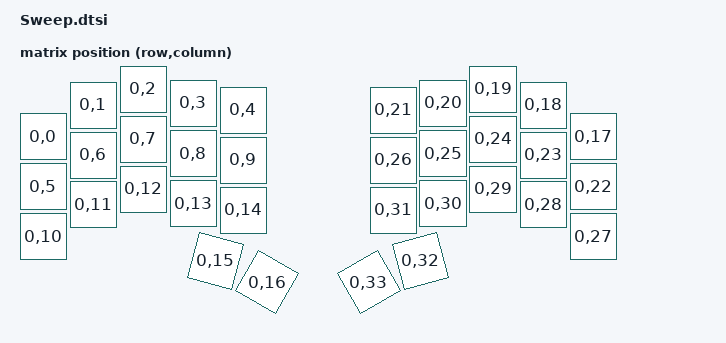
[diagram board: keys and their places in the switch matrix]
/*
 * Copyright (c) 2021 The ZMK Contributors
 *
 * SPDX-License-Identifier: MIT
 */

#include <dt-bindings/zmk/matrix_transform.h>
#include <physical_layouts.dtsi>


/ {

    chosen {
        zmk,physical-layout = &default_layout;
    };

    default_transform: keymap_transform_0 {
        compatible = "zmk,matrix-transform";
        columns = <34>;
        rows = <1>;
        map = <
        //     0        1        2        3        4          5        6        7        8        9
            RC(0,0)  RC(0,1)  RC(0,2)  RC(0,3)  RC(0,4)    RC(0,21) RC(0,20) RC(0,19) RC(0,18) RC(0,17)
        //     10       11       12       13       14         15       16       17       18       19     
            RC(0,5)  RC(0,6)  RC(0,7)  RC(0,8)  RC(0,9)    RC(0,26) RC(0,25) RC(0,24) RC(0,23) RC(0,22)
        //     20       21       22       23       24         25       26       27       28       29
            RC(0,10) RC(0,11) RC(0,12) RC(0,13) RC(0,14)   RC(0,31) RC(0,30) RC(0,29) RC(0,28) RC(0,27)
        //                                28       29         30       31 
                                       RC(0,15) RC(0,16)   RC(0,33) RC(0,32)
        >;
    };

    default_layout: default_layout {
        compatible = "zmk,physical-layout";
        display-name = "Default";
        transform = <&default_transform>;
        kscan = <&kscan0>;


        keys  //                     w   h    x    y     rot    rx    ry
            = <&key_physical_attrs 100 100    0   95       0     0     0>
            , <&key_physical_attrs 100 100  100   32       0     0     0>
            , <&key_physical_attrs 100 100  200    0       0     0     0>
            , <&key_physical_attrs 100 100  300   28       0     0     0>
            , <&key_physical_attrs 100 100  400   42       0     0     0>
            , <&key_physical_attrs 100 100  700   42       0     0     0>
            , <&key_physical_attrs 100 100  800   28       0     0     0>
            , <&key_physical_attrs 100 100  900    0       0     0     0>
            , <&key_physical_attrs 100 100 1000   32       0     0     0>
            , <&key_physical_attrs 100 100 1100   95       0     0     0>
            , <&key_physical_attrs 100 100    0  195       0     0     0>
            , <&key_physical_attrs 100 100  100  132       0     0     0>
            , <&key_physical_attrs 100 100  200  100       0     0     0>
            , <&key_physical_attrs 100 100  300  129       0     0     0>
            , <&key_physical_attrs 100 100  400  142       0     0     0>
            , <&key_physical_attrs 100 100  700  142       0     0     0>
            , <&key_physical_attrs 100 100  800  129       0     0     0>
            , <&key_physical_attrs 100 100  900  100       0     0     0>
            , <&key_physical_attrs 100 100 1000  132       0     0     0>
            , <&key_physical_attrs 100 100 1100  195       0     0     0>
            , <&key_physical_attrs 100 100    0  295       0     0     0>
            , <&key_physical_attrs 100 100  100  231       0     0     0>
            , <&key_physical_attrs 100 100  200  200       0     0     0>
            , <&key_physical_attrs 100 100  300  229       0     0     0>
            , <&key_physical_attrs 100 100  400  242       0     0     0>
            , <&key_physical_attrs 100 100  700  242       0     0     0>
            , <&key_physical_attrs 100 100  800  229       0     0     0>
            , <&key_physical_attrs 100 100  900  200       0     0     0>
            , <&key_physical_attrs 100 100 1000  231       0     0     0>
            , <&key_physical_attrs 100 100 1100  295       0     0     0>
            , <&key_physical_attrs 100 100  330  355    1500   430   455>
            , <&key_physical_attrs 100 100  430  355    3000   430   455>
            , <&key_physical_attrs 100 100  670  355 (-3000)   770   455>
            , <&key_physical_attrs 100 100  770  355 (-1500)   770   455>
            ;
    };

};
